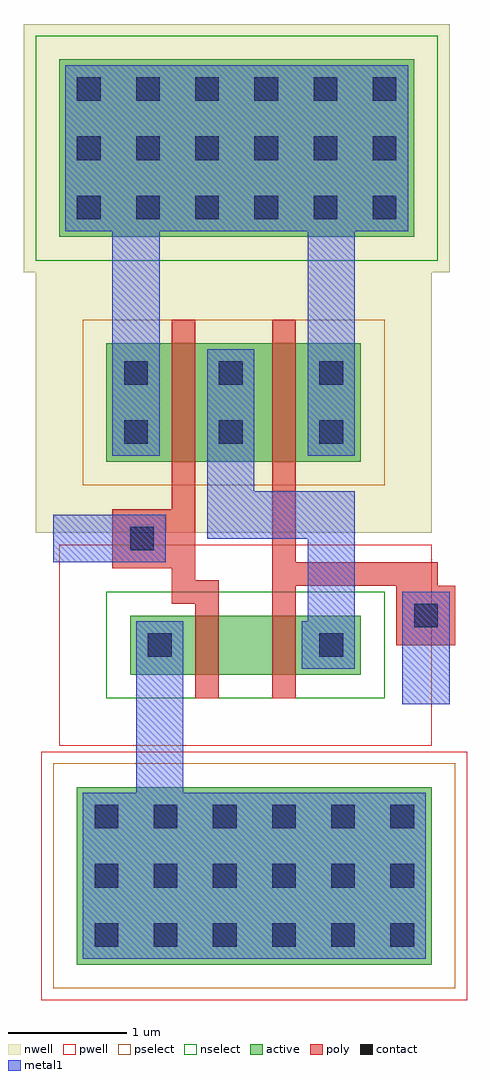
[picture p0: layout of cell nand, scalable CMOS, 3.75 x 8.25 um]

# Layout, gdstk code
import gdstk
lib = gdstk.Library(unit=1e-6, precision=1e-09)
def R(c, l, rs):  # rectangles x0, y0, x1, y1
    for r in rs: c.add(gdstk.rectangle(r[:2], r[2:], *l))
def A(c, l, x, y, w, h, nx, ny, dx, dy):  # array of equal rectangles
    R(c, l, [(x+i*dx, y+j*dy, x+i*dx+w, y+j*dy+h) for i in range(nx) for j in range(ny)])
contact = (25, 0)
pwell = (41, 0)
nwell = (42, 0)
active = (43, 0)
pselect = (44, 0)
nselect = (45, 0)
poly = (46, 0)
metal1 = (49, 0)

nand = lib.new_cell('nand')
A(nand, contact, -1.15, -3.45, 0.2, 0.2, 6, 3, 0.5, 0.5)
A(nand, contact, -1.3, 2.7, 0.2, 0.2, 6, 3, 0.5, 0.5)
R(nand, contact, [(-0.7,-1,-0.5,-0.8), (0.75,-1,0.95,-0.8), (1.55,-0.75,1.75,-0.55), (-0.85,-0.1,-0.65,0.1), (-0.9,0.8,-0.7,1), (-0.1,0.8,0.1,1), (0.75,0.8,0.95,1), (-0.9,1.3,-0.7,1.5), (-0.1,1.3,0.1,1.5), (0.75,1.3,0.95,1.5)])
R(nand, pwell, [(-1.6,-3.9,2,-1.8), (-1.45,-1.75,0.25,-0.05), (-1.2,-1.75,0.8,-0.05), (-0.55,-1.75,1.45,-0.05), (0,-1.75,1.7,-0.05), (-1.4,-1.65,0.175,-0.15), (-0.675,-1.65,0.925,-0.15), (0.075,-1.65,1.65,-0.15)])
R(nand, nwell, [(-1.65,0.05,0.05,2.25), (-1.4,0.05,0.6,2.25), (-0.85,0.05,0.85,2.25), (-0.55,0.05,1.45,2.25), (0,0.05,1.7,2.25), (-1.6,0.4,-0.025,1.9), (-0.775,0.4,0.8,1.9), (-0.75,0.4,0.825,1.9), (0.075,0.4,1.65,1.9), (-1.75,2.25,1.85,4.35)])
R(nand, active, [(-1.3,-3.6,1.7,-2.1), (-0.85,-1.15,-0.35,-0.65), (-0.6,-1.15,0.2,-0.65), (0.05,-1.15,0.85,-0.65), (0.6,-1.15,1.1,-0.65), (-0.8,-1.05,-0.425,-0.75), (-0.075,-1.05,0.325,-0.75), (0.675,-1.05,1.05,-0.75), (-1.05,0.65,-0.55,1.65), (-0.8,0.65,0,1.65), (-0.25,0.65,0.25,1.65), (0.05,0.65,0.85,1.65), (0.6,0.65,1.1,1.65), (-1,1,-0.625,1.3), (-0.175,1,0.2,1.3), (-0.15,1,0.225,1.3), (0.675,1,1.05,1.3), (-1.45,2.55,1.55,4.05)])
R(nand, pselect, [(-1.5,-3.8,1.9,-1.9), (-1.25,0.45,-0.35,1.85), (-1,0.45,0.2,1.85), (-0.45,0.45,0.45,1.85), (-0.15,0.45,1.05,1.85), (0.4,0.45,1.3,1.85), (-1.2,0.8,-0.425,1.5), (-0.375,0.8,0.4,1.5), (-0.35,0.8,0.425,1.5), (0.475,0.8,1.25,1.5)])
R(nand, nselect, [(-1.05,-1.35,-0.15,-0.45), (-0.8,-1.35,0.4,-0.45), (-0.15,-1.35,1.05,-0.45), (0.4,-1.35,1.3,-0.45), (-1,-1.25,-0.225,-0.55), (-0.275,-1.25,0.525,-0.55), (0.475,-1.25,1.25,-0.55), (-1.65,2.35,1.75,4.25)])
R(nand, poly, [(-0.3,-1.35,-0.1,-0.45), (0.35,-1.35,0.55,-0.45), (1.4,-0.9,1.9,-0.4), (1.55,-0.8,1.75,-0.2), (-0.5,-0.55,-0.1,-0.35), (-0.5,-0.55,-0.3,0.1), (0.35,-0.55,0.55,-0.2), (0.35,-0.4,0.55,0.55), (0.35,-0.4,1.75,-0.2), (-1,-0.25,-0.5,0.25), (-0.9,-0.1,-0.3,0.1), (-0.5,-0.1,-0.3,0.55), (-0.5,0.45,-0.3,1.85), (0.35,0.45,0.55,1.85)])
R(nand, metal1, [(-1.25,-3.55,1.65,-2.15), (-0.8,-3.05,-0.4,-0.7), (1.45,-1.4,1.85,-0.45), (-0.8,-1.1,-0.4,-0.7), (0.6,-1.1,1.05,-0.7), (0.65,-1.1,1.05,-0.7), (0.65,-1.1,1.05,0.4), (1.45,-0.85,1.85,-0.45), (-1.5,-0.2,-0.55,0.2), (-0.95,-0.2,-0.55,0.2), (-0.2,0,0.2,1.35), (-0.2,0,1.05,0.4), (-1,0.7,-0.6,1.6), (-0.2,0.7,0.2,1.6), (0.65,0.7,1.05,1.6), (-1,0.95,-0.6,3.5), (0.65,0.95,1.05,3.5), (-1.4,2.6,1.5,4)])

lib.write_gds('nand.gds')
